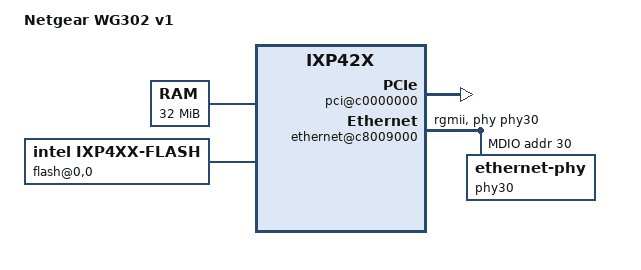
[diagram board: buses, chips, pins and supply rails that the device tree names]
// SPDX-License-Identifier: ISC
/*
 * Device Tree file for Netgear WG302v2 based on IXP422BB
 * Derived from boardfiles written by Imre Kaloz
 */

/dts-v1/;

#include "intel-ixp42x.dtsi"
#include <dt-bindings/input/input.h>

/ {
	model = "Netgear WG302 v1";
	compatible = "netgear,wg302v1", "intel,ixp42x";
	#address-cells = <1>;
	#size-cells = <1>;

	memory@0 {
		/* 32 MB SDRAM according to boot arguments */
		device_type = "memory";
		reg = <0x00000000 0x02000000>;
	};

	chosen {
		/* The RedBoot comes up in 9600 baud so let's keep this */
		bootargs = "console=ttyS0,9600n8";
		stdout-path = "uart1:9600n8";
	};

	aliases {
		/* These are switched around */
		serial0 = &uart1;
	};

	soc {
		bus@c4000000 {
			flash@0,0 {
				compatible = "intel,ixp4xx-flash", "cfi-flash";
				bank-width = <2>;
				/*
				 * 8 MB of Flash in 64 0x20000 sized blocks
				 * mapped in at CS0.
				 */
				reg = <0 0x00000000 0x800000>;

				/* Configure expansion bus to allow writes */
				intel,ixp4xx-eb-write-enable = <1>;

				partitions {
					compatible = "redboot-fis";
					fis-index-block = <0x3f>;
				};
			};
		};

		pci@c0000000 {
			status = "ok";

			/*
			 * Taken from WG302 v2 PCI boardfile (wg302v2-pci.c)
			 * We have slots (IDSEL) 1 and 2 with one assigned IRQ
			 * each handling all IRQs.
			 */
			#interrupt-cells = <1>;
			interrupt-map-mask = <0xf800 0 0 7>;
			interrupt-map =
			/* IDSEL 1 */
			<0x0800 0 0 1 &gpio0 8 IRQ_TYPE_LEVEL_LOW>, /* INT A on slot 1 is irq 8 */
			<0x0800 0 0 2 &gpio0 8 IRQ_TYPE_LEVEL_LOW>, /* INT B on slot 1 is irq 8 */
			<0x0800 0 0 3 &gpio0 8 IRQ_TYPE_LEVEL_LOW>, /* INT C on slot 1 is irq 8 */
			<0x0800 0 0 4 &gpio0 8 IRQ_TYPE_LEVEL_LOW>, /* INT D on slot 1 is irq 8 */
			/* IDSEL 2 */
			<0x1000 0 0 1 &gpio0 9 IRQ_TYPE_LEVEL_LOW>, /* INT A on slot 2 is irq 9 */
			<0x1000 0 0 2 &gpio0 9 IRQ_TYPE_LEVEL_LOW>, /* INT B on slot 2 is irq 9 */
			<0x1000 0 0 3 &gpio0 9 IRQ_TYPE_LEVEL_LOW>, /* INT C on slot 2 is irq 9 */
			<0x1000 0 0 4 &gpio0 9 IRQ_TYPE_LEVEL_LOW>; /* INT D on slot 2 is irq 9 */
		};

		ethernet@c8009000 {
			status = "ok";
			queue-rx = <&qmgr 3>;
			queue-txready = <&qmgr 20>;
			phy-mode = "rgmii";
			phy-handle = <&phy30>;

			mdio {
				#address-cells = <1>;
				#size-cells = <0>;

				phy30: ethernet-phy@30 {
					reg = <30>;
				};
			};
		};
	};
};
